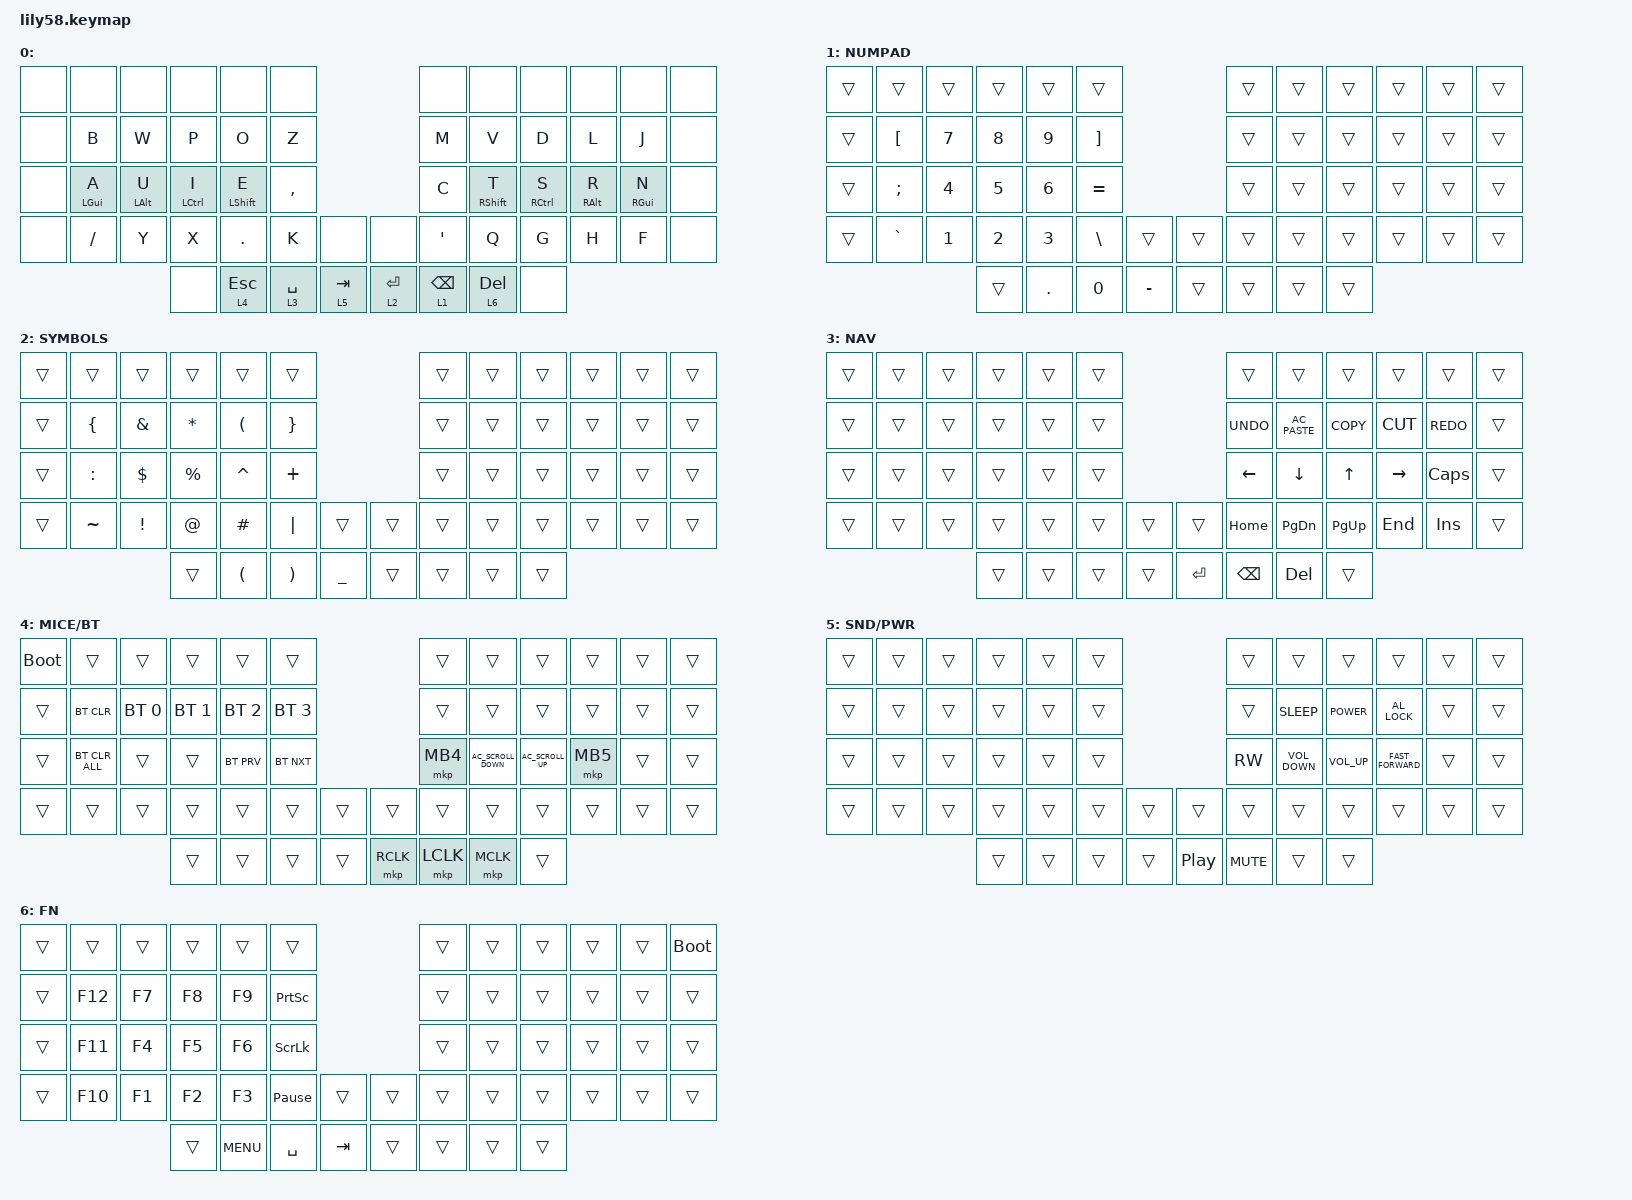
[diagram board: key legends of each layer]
/*
 * Copyright (c) 2020 The ZMK Contributors
 *
 * SPDX-License-Identifier: MIT
 */

#include <behaviors.dtsi>
#include <dt-bindings/zmk/mouse.h>
#include <dt-bindings/zmk/bt.h>
#include <dt-bindings/zmk/keys.h>

/ {
    behaviors {
        hml: hml {
            compatible = "zmk,behavior-hold-tap";
            label = "HML";
            bindings = <&kp>, <&kp>;

            #binding-cells = <2>;
            flavor = "balanced";
            tapping-term-ms = <200>;
            quick-tap-ms = <175>;
            require-prior-idle-ms = <150>;
            hold-trigger-on-release;
            hold-trigger-key-positions = <6 18 43 30 31 7 8 19 20 21 9 10 11 23 22 35 34 33 32 45 44 46 47 48 57 56 55 54 53 52 51 50 49>;
        };

        hmr: hmr {
            compatible = "zmk,behavior-hold-tap";
            label = "HMR";
            bindings = <&kp>, <&kp>;

            #binding-cells = <2>;
            tapping-term-ms = <200>;
            quick-tap-ms = <175>;
            require-prior-idle-ms = <150>;
            flavor = "balanced";
            hold-trigger-key-positions = <53 54 55 57 56 42 52 41 51 40 29 28 17 16 5 4 3 15 27 39 50 38 14 26 2 1 13 25 37 36 24 12 0>;
            hold-trigger-on-release;
        };

        ltl: ltl {
            compatible = "zmk,behavior-hold-tap";
            label = "LTL";
            bindings = <&mo>, <&kp>;

            #binding-cells = <2>;
            flavor = "balanced";
            tapping-term-ms = <200>;
            quick-tap-ms = <175>;
            require-prior-idle-ms = <150>;
        };

        ltr: ltr {
            compatible = "zmk,behavior-hold-tap";
            label = "LTR";
            bindings = <&mo>, <&kp>;

            #binding-cells = <2>;
            tapping-term-ms = <200>;
            quick-tap-ms = <175>;
            require-prior-idle-ms = <150>;
            flavor = "balanced";
        };
    };

    keymap {
        compatible = "zmk,keymap";

        MAIN {
            // ------------------------------------------------------------------------------------------------------------
            // |  ESC  |  1  |  2  |  3   |  4   |  5   |                   |  6   |  7    |  8    |  9   |   0   |   `   |
            // |  TAB  |  Q  |  W  |  E   |  R   |  T   |                   |  Y   |  U    |  I    |  O   |   P   |   -   |
            // |  CTRL |  A  |  S  |  D   |  F   |  G   |                   |  H   |  J    |  K    |  L   |   ;   |   '   |
            // | SHIFT |  Z  |  X  |  C   |  V   |  B   |   "["  |  |  "]"  |  N   |  M    |  ,    |  .   |   /   | SHIFT |
            //                     | ALT  | GUI  | LOWER|  SPACE |  | ENTER | RAISE| BSPC  | GUI   |

            bindings = <
&none  &none            &none        &none         &none         &none                                     &none             &none         &none         &none        &none        &none
&none  &kp B            &kp W        &kp P         &kp O         &kp Z                                     &kp M             &kp V         &kp D         &kp L        &kp J        &none
&none  &hml LEFT_GUI A  &hml LALT U  &hml LCTRL I  &hml LSHFT E  &kp COMMA                                 &kp C             &hmr RSHFT T  &hmr RCTRL S  &hmr RALT R  &hmr RGUI N  &none
&none  &kp SLASH        &kp Y        &kp X         &kp PERIOD    &kp K         &none         &none         &kp SQT           &kp Q         &kp G         &kp H        &kp F        &none
                                     &none         &ltl 4 ESC    &ltl 3 SPACE  &ltl 5 TAB    &ltr 2 ENTER  &ltr 1 BACKSPACE  &ltr 6 DEL    &none
            >;

            label = " ";
        };

        NUMPAD {
            bindings = <
&trans  &trans            &trans        &trans        &trans        &trans                                  &trans  &trans  &trans  &trans  &trans  &trans
&trans  &kp LEFT_BRACKET  &kp N7        &kp N8        &kp N9        &kp RIGHT_BRACKET                       &trans  &trans  &trans  &trans  &trans  &trans
&trans  &kp SEMICOLON     &kp NUMBER_4  &kp N5        &kp NUMBER_6  &kp EQUAL                               &trans  &trans  &trans  &trans  &trans  &trans
&trans  &kp GRAVE         &kp NUMBER_1  &kp NUMBER_2  &kp NUMBER_3  &kp BACKSLASH      &trans       &trans  &trans  &trans  &trans  &trans  &trans  &trans
                                        &trans        &kp DOT       &kp N0             &kp MINUS    &trans  &trans  &trans  &trans
            >;

            label = "NUMPAD";
        };

        SYMBOLS {
            bindings = <
&trans  &trans          &trans           &trans        &trans                &trans                                      &trans  &trans  &trans  &trans  &trans  &trans
&trans  &kp LEFT_BRACE  &kp AMPERSAND    &kp ASTERISK  &kp LEFT_PARENTHESIS  &kp RIGHT_BRACE                             &trans  &trans  &trans  &trans  &trans  &trans
&trans  &kp COLON       &kp DOLLAR       &kp PERCENT   &kp CARET             &kp PLUS                                    &trans  &trans  &trans  &trans  &trans  &trans
&trans  &kp TILDE       &kp EXCLAMATION  &kp AT_SIGN   &kp HASH              &kp PIPE               &trans       &trans  &trans  &trans  &trans  &trans  &trans  &trans
                                         &trans        &kp LEFT_PARENTHESIS  &kp RIGHT_PARENTHESIS  &kp UNDER    &trans  &trans  &trans  &trans
            >;

            label = "SYMBOLS";
        };

        NAV {
            bindings = <
&trans  &trans  &trans  &trans  &trans  &trans                       &trans         &trans          &trans       &trans     &trans      &trans
&trans  &trans  &trans  &trans  &trans  &trans                       &kp K_UNDO     &kp C_AC_PASTE  &kp K_COPY   &kp K_CUT  &kp K_REDO  &trans
&trans  &trans  &trans  &trans  &trans  &trans                       &kp LEFT       &kp DOWN        &kp UP       &kp RIGHT  &kp CAPS    &trans
&trans  &trans  &trans  &trans  &trans  &trans  &trans    &trans     &kp HOME       &kp PAGE_DOWN   &kp PAGE_UP  &kp END    &kp INSERT  &trans
                        &trans  &trans  &trans  &trans    &kp ENTER  &kp BACKSPACE  &kp DELETE      &trans
            >;

            label = "NAV";
        };

        mouse_bt {
            bindings = <
&bootloader  &trans          &trans        &trans        &trans        &trans                             &trans     &trans                &trans              &trans    &trans  &trans
&trans       &bt BT_CLR      &bt BT_SEL 0  &bt BT_SEL 1  &bt BT_SEL 2  &bt BT_SEL 3                       &trans     &trans                &trans              &trans    &trans  &trans
&trans       &bt BT_CLR_ALL  &trans        &trans        &bt BT_PRV    &bt BT_NXT                         &mkp MB4   &kp C_AC_SCROLL_DOWN  &kp C_AC_SCROLL_UP  &mkp MB5  &trans  &trans
&trans       &trans          &trans        &trans        &trans        &trans        &trans    &trans     &trans     &trans                &trans              &trans    &trans  &trans
                                           &trans        &trans        &trans        &trans    &mkp RCLK  &mkp LCLK  &mkp MCLK             &trans
            >;

            label = "MICE/BT";
        };

        MEDIA {
            bindings = <
&trans  &trans  &trans  &trans  &trans  &trans                              &trans      &trans             &trans        &trans              &trans  &trans
&trans  &trans  &trans  &trans  &trans  &trans                              &trans      &kp C_SLEEP        &kp C_POWER   &kp C_AL_LOCK       &trans  &trans
&trans  &trans  &trans  &trans  &trans  &trans                              &kp C_RW    &kp C_VOLUME_DOWN  &kp C_VOL_UP  &kp C_FAST_FORWARD  &trans  &trans
&trans  &trans  &trans  &trans  &trans  &trans  &trans    &trans            &trans      &trans             &trans        &trans              &trans  &trans
                        &trans  &trans  &trans  &trans    &kp C_PLAY_PAUSE  &kp K_MUTE  &trans             &trans
            >;

            label = "SND/PWR";
        };

        FUNCTION {
            bindings = <
&trans  &trans   &trans  &trans  &trans      &trans                              &trans  &trans  &trans  &trans  &trans  &bootloader
&trans  &kp F12  &kp F7  &kp F8  &kp F9      &kp PRINTSCREEN                     &trans  &trans  &trans  &trans  &trans  &trans
&trans  &kp F11  &kp F4  &kp F5  &kp F6      &kp SCROLLLOCK                      &trans  &trans  &trans  &trans  &trans  &trans
&trans  &kp F10  &kp F1  &kp F2  &kp F3      &kp PAUSE_BREAK  &trans     &trans  &trans  &trans  &trans  &trans  &trans  &trans
                         &trans  &kp K_MENU  &kp SPACE        &kp TAB    &trans  &trans  &trans  &trans
            >;

            label = "FN";
        };
    };
};
